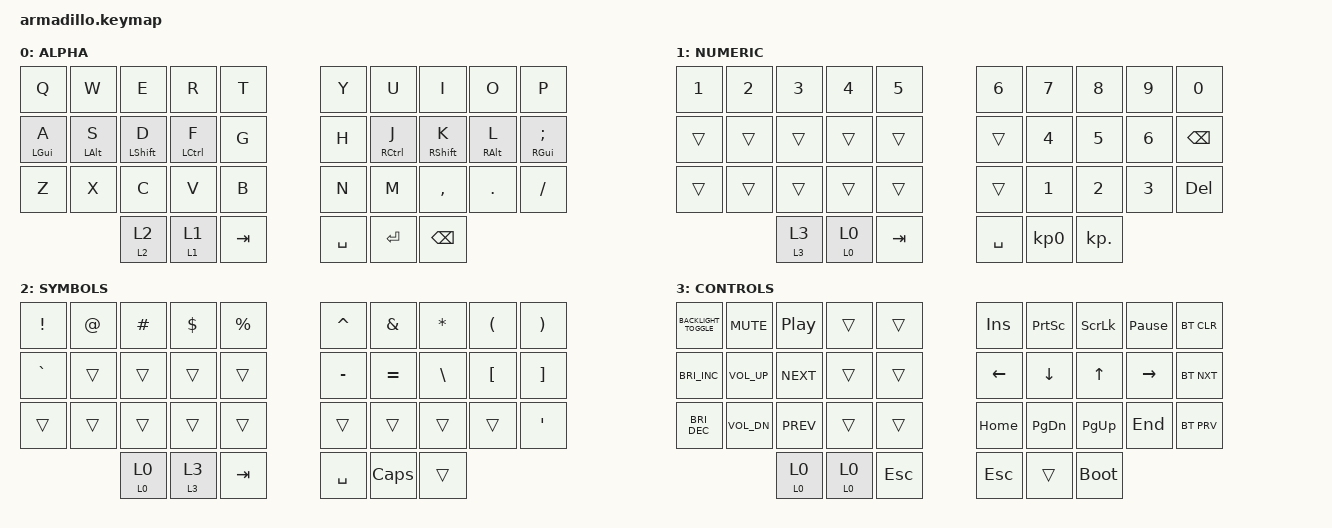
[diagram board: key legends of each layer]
#include <behaviors.dtsi>
#include <dt-bindings/zmk/bt.h>
#include <dt-bindings/zmk/keys.h>

/ {
    behaviors {
        bhml: balanced_homerow_mod_left {
            compatible = "zmk,behavior-hold-tap";
            label = "Balanced Homerow Mod Left";
            bindings = <&kp>, <&kp>;

            #binding-cells = <2>;
            tapping-term-ms = <200>;
            quick-tap-ms = <0>;
            hold-trigger-key-positions = <5 6 7 8 9 15 16 17 18 19 25 26 27 28 29 33 34 35>;
            flavor = "balanced";
        };

        bhmr: balanced_homerow_mod_right {
            compatible = "zmk,behavior-hold-tap";
            label = "Balanced Homerow Mod Right";
            bindings = <&kp>, <&kp>;

            #binding-cells = <2>;
            tapping-term-ms = <200>;
            quick-tap-ms = <0>;
            flavor = "balanced";
            hold-trigger-key-positions = <0 1 2 3 4 10 11 12 13 14 20 21 22 23 24 30 31 32>;
        };

        moto: momentary_or_to_layer {
            compatible = "zmk,behavior-hold-tap";
            label = "Momentary when held, to when tapped";
            bindings = <&mo>, <&to>;

            #binding-cells = <2>;
            tapping-term-ms = <200>;
            quick-tap-ms = <0>;
        };
    };

    keymap {
        compatible = "zmk,keymap";

        ALPHA {
            bindings = <
&kp Q         &kp W             &kp E          &kp R          &kp T        &kp Y      &kp U          &kp I          &kp O         &kp P
&bhml LGUI A  &bhml LEFT_ALT S  &bhml LSHFT D  &bhml LCTRL F  &kp G        &kp H      &bhmr RCTRL J  &bhmr RSHFT K  &bhmr RALT L  &bhmr RGUI SEMICOLON
&kp Z         &kp X             &kp C          &kp V          &kp B        &kp N      &kp M          &kp COMMA      &kp DOT       &kp FSLH
                                &moto 2 2      &moto 1 1      &kp TAB      &kp SPACE  &kp ENTER      &kp BACKSPACE
            >;
        };

        NUMERIC {
            bindings = <
&kp N1  &kp N2  &kp N3     &kp N4     &kp N5       &kp N6     &kp N7     &kp N8      &kp N9  &kp N0
&trans  &trans  &trans     &trans     &trans       &trans     &kp N4     &kp N5      &kp N6  &kp BACKSPACE
&trans  &trans  &trans     &trans     &trans       &trans     &kp N1     &kp N2      &kp N3  &kp DELETE
                &moto 3 3  &moto 0 0  &kp TAB      &kp SPACE  &kp KP_N0  &kp KP_DOT
            >;
        };

        SYMBOLS {
            bindings = <
&kp EXCL   &kp AT_SIGN  &kp HASH   &kp DLLR   &kp PRCNT      &kp CARET  &kp AMPS      &kp STAR       &kp LPAR          &kp RPAR
&kp GRAVE  &trans       &trans     &trans     &trans         &kp MINUS  &kp EQUAL     &kp BACKSLASH  &kp LEFT_BRACKET  &kp RIGHT_BRACKET
&trans     &trans       &trans     &trans     &trans         &trans     &trans        &trans         &trans            &kp SINGLE_QUOTE
                        &moto 0 0  &moto 3 3  &kp TAB        &kp SPACE  &kp CAPSLOCK  &trans
            >;
        };

        CONTROLS {
            bindings = <
&kp C_BACKLIGHT_TOGGLE  &kp K_MUTE    &kp C_PLAY_PAUSE  &trans     &trans       &kp INSERT  &kp PRINTSCREEN  &kp SCROLLLOCK  &kp PAUSE_BREAK  &bt BT_CLR
&kp C_BRIGHTNESS_INC    &kp C_VOL_UP  &kp C_NEXT        &trans     &trans       &kp LEFT    &kp DOWN         &kp UP_ARROW    &kp RIGHT        &bt BT_NXT
&kp C_BRIGHTNESS_DEC    &kp C_VOL_DN  &kp C_PREV        &trans     &trans       &kp HOME    &kp PAGE_DOWN    &kp PG_UP       &kp END          &bt BT_PRV
                                      &moto 0 0         &moto 0 0  &kp ESC      &kp ESC     &trans           &bootloader
            >;
        };
    };
};
